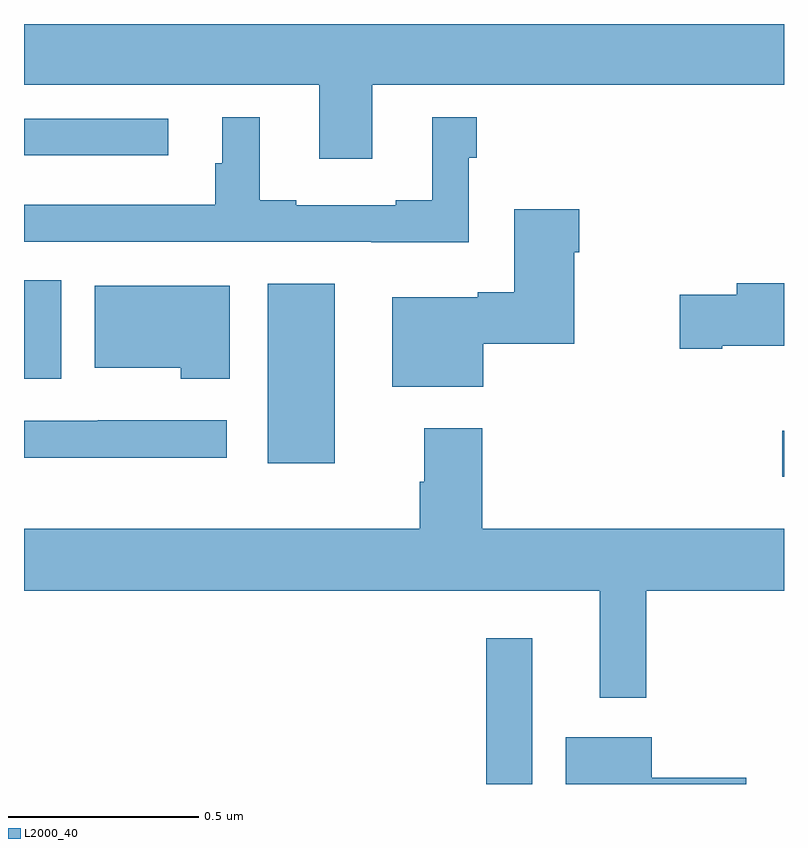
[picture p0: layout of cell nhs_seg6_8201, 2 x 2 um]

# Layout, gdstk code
import gdstk
lib = gdstk.Library(unit=1e-6, precision=1e-09)
def R(c, l, rs):  # rectangles x0, y0, x1, y1
    for r in rs: c.add(gdstk.rectangle(r[:2], r[2:], *l))
def P(c, l, *ps):  # polygons
    for p in ps: c.add(gdstk.Polygon(p, *l))
L2000_40 = (2000, 40)

nhs_seg6_8201 = lib.new_cell('nhs_seg6_8201')
R(nhs_seg6_8201, L2000_40, [(219.216,941.5,219.337,941.884), (219.996,942.308,220,942.43), (218.642,942.344,218.818,942.817), (218,942.566,218.098,942.826), (218,943.154,218.38,943.251)])
P(nhs_seg6_8201, L2000_40, [(218.917,943.34),(220,943.34),(220,943.5),(218,943.5),(218,943.34),(218.777,943.34),(218.777,943.146),(218.917,943.146)],
  [(219.171,943.148),(219.191,943.148),(219.191,943.255),(219.074,943.255),(219.074,943.036),(218.978,943.036),(218.978,943.023),(218.716,943.023),(218.716,943.036),(218.62,943.036),(218.62,943.255),(218.522,943.255),(218.522,943.134),(218.503,943.134),(218.503,943.024),(218,943.024),(218,942.927),(218.914,942.927),(218.914,942.926),(219.171,942.926)],
  [(219.208,942.659),(219.448,942.659),(219.448,942.899),(219.461,942.899),(219.461,943.012),(219.29,943.012),(219.29,942.794),(219.194,942.794),(219.194,942.781),(218.969,942.781),(218.969,942.545),(219.208,942.545)],
  [(219.838,942.653),(220,942.653),(220,942.818),(219.875,942.818),(219.875,942.788),(219.726,942.788),(219.726,942.646),(219.838,942.646)],
  [(218.542,942.811),(218.186,942.811),(218.186,942.596),(218.413,942.596),(218.413,942.566),(218.542,942.566)],
  [(218.533,942.457),(218.194,942.457),(218.194,942.456),(218,942.456),(218,942.359),(218.533,942.359)],
  [(219.637,942.008),(220,942.008),(220,942.172),(219.206,942.172),(219.206,942.436),(219.053,942.436),(219.053,942.296),(219.041,942.296),(219.041,942.172),(218,942.172),(218,942.008),(219.515,942.008),(219.515,941.727),(219.637,941.727)],
  [(219.901,941.517),(219.652,941.517),(219.652,941.623),(219.425,941.623),(219.425,941.5),(219.901,941.5)])

lib.write_gds('nhs_seg6_8201.gds')
